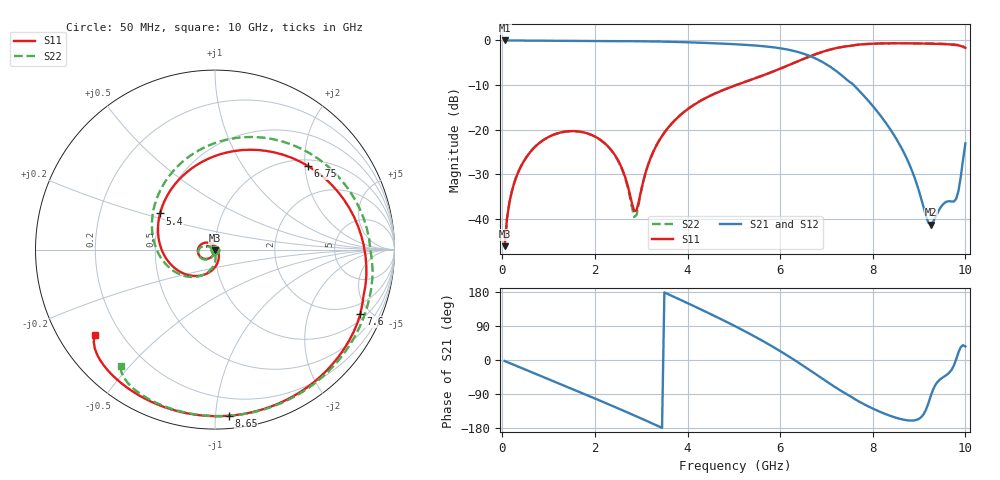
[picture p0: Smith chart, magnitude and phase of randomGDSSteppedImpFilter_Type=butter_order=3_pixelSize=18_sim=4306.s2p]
! freq	dB(S11)	phase(S11)	dB(S12)	phase(S12)
!  dB(S21)	phase(S21)	dB(S22)	phase(S22)
!S-par simulation data
#  GHz  S  DB  R 50
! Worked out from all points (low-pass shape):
!   200 points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, 50 MHz to 10 GHz, reference 50 ohm
!   highest |S21| = -0.01 dB at 50 MHz (marker M1); lowest = -41.3 dB at 9.25 GHz (marker M2)
!   |S21| within 3 dB of the highest: start of sweep to 6.514 GHz
!   lowest |S11| = -46.1 dB at 50 MHz (marker M3), VSWR 1.01, Z = 50 - j0.495 ohm
!   |S11| at or under -10 dB: start of sweep to 5.055 GHz
!   |S22| runs from -46.1 to -0.6 dB; largest |S21 - S12| = 0
!   S11 on the Smith chart (normalised r, x): 50 MHz: 1.00, -0.01; 5.4 GHz: 0.50, +0.23; 6.75 GHz: 1.15, +2.08; 7.6 GHz: 1.31, -4.36; 8.65 GHz: 0.08, -1.08; 10 GHz: 0.11, -0.32
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0.05  -46.10 -89.8  -0.01 -2.6  -0.01 -2.6  -46.10 -89.6
0.2  -34.07 -100.0  -0.02 -10.2  -0.02 -10.2  -34.07 -99.2
0.55  -25.75 -119.5  -0.05 -28.0  -0.05 -28.0  -25.74 -117.3
1.2  -20.79 -154.4  -0.11 -60.8  -0.11 -60.8  -20.80 -149.2
1.75  -20.58 175.4  -0.14 -88.7  -0.14 -88.7  -20.60 -175.3
2.45  -25.99 130.9  -0.16 -125.0  -0.16 -125.0  -26.09 155.9
2.85  -38.26 45.0  -0.18 -146.2  -0.18 -146.2  -39.55 -158.9
3.15  -27.81 -57.9  -0.21 -162.5  -0.21 -162.5  -27.80 -86.0
3.4  -22.23 -80.4  -0.25 -176.2  -0.25 -176.2  -22.18 -92.2
4.15  -14.36 -130.2  -0.47 141.5  -0.47 141.5  -14.31 -127.6
5.05  -10.02 171.0  -0.87 87.8  -0.87 87.8  -9.98 -176.6
5.4  -8.72 146.7  -1.09 65.4  -1.09 65.4  -8.69 162.4
6.1  -5.90 94.4  -1.93 16.0  -1.93 16.0  -5.91 114.8
6.7  -3.32 46.0  -3.74 -31.8  -3.74 -31.8  -3.35 66.5
6.75  -3.13 41.9  -3.97 -35.9  -3.97 -35.9  -3.16 62.3
7.2  -1.74 5.4  -6.77 -72.6  -6.77 -72.6  -1.76 24.1
7.6  -1.05 -23.8  -10.12 -102.3  -10.12 -102.3  -1.07 -7.0
8.35  -0.65 -70.0  -19.48 -146.1  -19.48 -146.1  -0.63 -55.6
8.65  -0.64 -85.3  -24.69 -157.1  -24.69 -157.1  -0.62 -71.3
9.25  -0.73 -112.5  -41.26 -95.7  -41.26 -95.7  -0.69 -98.6
9.8  -1.03 -136.0  -35.53 1.5  -35.53 1.5  -0.96 -121.2
10  -1.68 -144.5  -23.07 35.7  -23.07 35.7  -1.57 -129.1
